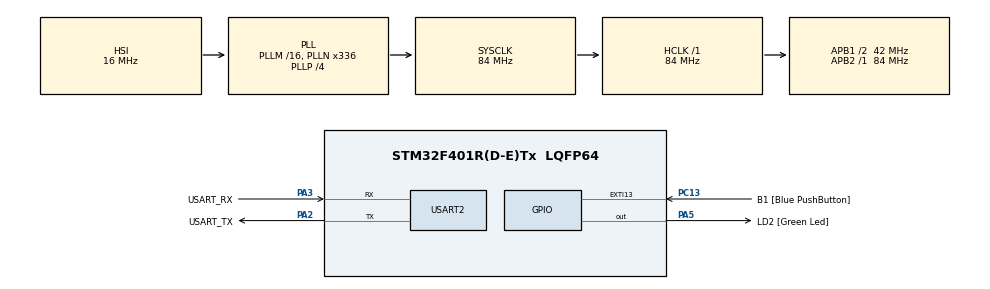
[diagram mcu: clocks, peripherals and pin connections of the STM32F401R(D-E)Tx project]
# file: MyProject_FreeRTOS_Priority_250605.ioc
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FREERTOS.Tasks01=defaultTask,24,128,StartDefaultTask,Default,NULL,Dynamic,NULL,NULL
Mcu.Family=STM32F4
Mcu.Name=STM32F401R(D-E)Tx
Mcu.Package=LQFP64
NVIC.PriorityGroup=NVIC_PRIORITYGROUP_4
PA13.GPIO_Label=TMS
PA13.Mode=Trace_Asynchronous_SW
PA13.Signal=SYS_JTMS-SWDIO
PA14.GPIO_Label=TCK
PA14.Mode=Trace_Asynchronous_SW
PA14.Signal=SYS_JTCK-SWCLK
PA2.GPIO_Label=USART_TX
PA2.GPIO_Mode=GPIO_MODE_AF_PP
PA2.GPIO_PuPd=GPIO_NOPULL
PA2.GPIO_Speed=GPIO_SPEED_FREQ_LOW
PA2.Mode=Asynchronous
PA2.Signal=USART2_TX
PA3.GPIO_Label=USART_RX
PA3.GPIO_Mode=GPIO_MODE_AF_PP
PA3.GPIO_PuPd=GPIO_NOPULL
PA3.GPIO_Speed=GPIO_SPEED_FREQ_LOW
PA3.Mode=Asynchronous
PA3.Signal=USART2_RX
PA5.GPIO_Label=LD2 [Green Led]
PA5.GPIO_Mode=GPIO_MODE_OUTPUT_PP
PA5.GPIO_PuPd=GPIO_NOPULL
PA5.GPIO_Speed=GPIO_SPEED_FREQ_LOW
PA5.Signal=GPIO_Output
PB3.GPIO_Label=SWO
PB3.Mode=Trace_Asynchronous_SW
PB3.Signal=SYS_JTDO-SWO
PC13-ANTI_TAMP.GPIO_Label=B1 [Blue PushButton]
PC13-ANTI_TAMP.GPIO_ModeDefaultEXTI=GPIO_MODE_IT_FALLING
PC13-ANTI_TAMP.GPIO_PuPd=GPIO_NOPULL
PC13-ANTI_TAMP.Signal=GPXTI13
PC14-OSC32_IN.Mode=LSE-External-Oscillator
PC14-OSC32_IN.Signal=RCC_OSC32_IN
PC15-OSC32_OUT.Mode=LSE-External-Oscillator
PC15-OSC32_OUT.Signal=RCC_OSC32_OUT
PH0\ -\ OSC_IN.Mode=HSE-External-Clock-Source
PH0\ -\ OSC_IN.Signal=RCC_OSC_IN
PH1\ -\ OSC_OUT.Mode=HSE-External-Clock-Source
PH1\ -\ OSC_OUT.Signal=RCC_OSC_OUT
ProjectManager.HeapSize=0x200
ProjectManager.StackSize=0x400
ProjectManager.TargetToolchain=STM32CubeIDE
RCC.48MHZClocksFreq_Value=48000000
RCC.AHBFreq_Value=84000000
RCC.APB1CLKDivider=RCC_HCLK_DIV2
RCC.APB1Freq_Value=42000000
RCC.APB1TimFreq_Value=84000000
RCC.APB2Freq_Value=84000000
RCC.APB2TimFreq_Value=84000000
RCC.CortexFreq_Value=84000000
RCC.HCLKFreq_Value=84000000
RCC.HSE_VALUE=8000000
RCC.HSI_VALUE=16000000
RCC.PLLN=336
RCC.PLLP=RCC_PLLP_DIV4
RCC.PLLQ=7
RCC.SYSCLKFreq_VALUE=84000000
RCC.SYSCLKSource=RCC_SYSCLKSOURCE_PLLCLK
RCC.VCOOutputFreq_Value=336000000
USART2.VirtualMode=VM_ASYNC
VP_FREERTOS_VS_CMSIS_V2.Mode=CMSIS_V2
board=NUCLEO-F401RE

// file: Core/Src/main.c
/* USER CODE BEGIN Header */
/**
  ******************************************************************************
  * @file           : main.c
  * @brief          : Main program body
  ******************************************************************************
  * @attention
  *
  * Copyright (c) 2025 STMicroelectronics.
  * All rights reserved.
  *
  * This software is licensed under terms that can be found in the LICENSE file
  * in the root directory of this software component.
  * If no LICENSE file comes with this software, it is provided AS-IS.
  *
  ******************************************************************************
  */
/* USER CODE END Header */
#include "main.h"
#include "cmsis_os.h"

/* USER CODE BEGIN Includes */
#include <stdio.h>  // sprintf 함수를 사용하기 위해 추가
#include <string.h>  // strlen 함수를 사용하기 위해 추가
/* USER CODE END Includes */

UART_HandleTypeDef huart2;

/* Definitions for defaultTask */
osThreadId_t defaultTaskHandle;
const osThreadAttr_t defaultTask_attributes = {
  .name = "defaultTask",
  .stack_size = 128 * 4,
  .priority = (osPriority_t) osPriorityNormal,
};

void SystemClock_Config(void);
static void MX_GPIO_Init(void);
static void MX_USART2_UART_Init(void);
void StartDefaultTask(void *argument);

/* USER CODE BEGIN PFP */
void LedBlinkTask(void *argument);
void SerialPrintTask(void *argument);
/* USER CODE END PFP */

/* USER CODE BEGIN 0 */
// LED 깜빡이는 작업을 수행할 함수
void LedBlinkTask(void *argument)
{
  for(;;) // 무한 루프
  {
    HAL_GPIO_TogglePin(GPIOA, GPIO_PIN_5); // NUCLEO-F401RE의 LD2 LED (녹색) 토글
    osDelay(100);                         // 0.1초 동안 작업 지연 (RTOS 방식)
  }
}

// 시리얼 포트로 메시지를 출력하는 작업을 수행할 함수
void SerialPrintTask(void *argument)
{
  uint32_t counter = 0;
  char msg_buffer[50];

  for(;;) // 무한 루프
  {
    sprintf(msg_buffer, "Task 2! Count: %lu\r\n", counter++); // 메시지 만들기

    // UART(USART2)를 통해 메시지 전송
    // huart2 핸들은 main.c 상단 또는 main.h에 선언되어 있어야 하며, MX_USART2_UART_Init()에서 초기화됩니다.
    // CubeMX 설정 시 USART2를 활성화했다면 자동으로 생성됩니다.
    HAL_UART_Transmit(&huart2, (uint8_t*)msg_buffer, strlen(msg_buffer), 100); // 100ms 타임아웃

    osDelay(1000); // 1초(1000ms) 간격으로 메시지 전송
  }
}

/* USER CODE END 0 */

int main(void)
{

  /* MCU Configuration--------------------------------------------------------*/

  /* Reset of all peripherals, Initializes the Flash interface and the Systick. */
  HAL_Init();

  /* Configure the system clock */
  SystemClock_Config();

  /* Initialize all configured peripherals */
  MX_GPIO_Init();
  MX_USART2_UART_Init();

  /* Init scheduler */
  osKernelInitialize();

  /* Create the thread(s) */
  /* creation of defaultTask */
  defaultTaskHandle = osThreadNew(StartDefaultTask, NULL, &defaultTask_attributes);

  /* USER CODE BEGIN RTOS_THREADS */
  /* add threads, ... */

  // LedBlinkTask를 위한 속성 정의 및 생성
  const osThreadAttr_t ledBlinkTask_attributes = {
    .name = "LedBlink",
    .stack_size = 128 * 4, // 512 바이트
    .priority = (osPriority_t) osPriorityHigh,
  };
  osThreadNew(LedBlinkTask, NULL, &ledBlinkTask_attributes);

  // SerialPrintTask를 위한 속성 정의 및 생성
  const osThreadAttr_t serialPrintTask_attributes = {
    .name = "SerialPrint",
    .stack_size = 128 * 4, // sprintf 등을 사용하므로 충분히 할당 (512 바이트)
    .priority = (osPriority_t) osPriorityLow,
  };
  osThreadNew(SerialPrintTask, NULL, &serialPrintTask_attributes);

  /* USER CODE END RTOS_THREADS */

  /* Start scheduler */
  osKernelStart();

  /* We should never get here as control is now taken by the scheduler */

  /* Infinite loop */
  while (1)
  {

  }
}

void SystemClock_Config(void)
{
  RCC_OscInitTypeDef RCC_OscInitStruct = {0};
  RCC_ClkInitTypeDef RCC_ClkInitStruct = {0};

  /** Configure the main internal regulator output voltage
  */
  __HAL_RCC_PWR_CLK_ENABLE();
  __HAL_PWR_VOLTAGESCALING_CONFIG(PWR_REGULATOR_VOLTAGE_SCALE2);

  /** Initializes the RCC Oscillators according to the specified parameters
  * in the RCC_OscInitTypeDef structure.
  */
  RCC_OscInitStruct.OscillatorType = RCC_OSCILLATORTYPE_HSI;
  RCC_OscInitStruct.HSIState = RCC_HSI_ON;
  RCC_OscInitStruct.HSICalibrationValue = RCC_HSICALIBRATION_DEFAULT;
  RCC_OscInitStruct.PLL.PLLState = RCC_PLL_ON;
  RCC_OscInitStruct.PLL.PLLSource = RCC_PLLSOURCE_HSI;
  RCC_OscInitStruct.PLL.PLLM = 16;
  RCC_OscInitStruct.PLL.PLLN = 336;
  RCC_OscInitStruct.PLL.PLLP = RCC_PLLP_DIV4;
  RCC_OscInitStruct.PLL.PLLQ = 7;
  if (HAL_RCC_OscConfig(&RCC_OscInitStruct) != HAL_OK)
  {
    Error_Handler();
  }

  /** Initializes the CPU, AHB and APB buses clocks
  */
  RCC_ClkInitStruct.ClockType = RCC_CLOCKTYPE_HCLK|RCC_CLOCKTYPE_SYSCLK
                              |RCC_CLOCKTYPE_PCLK1|RCC_CLOCKTYPE_PCLK2;
  RCC_ClkInitStruct.SYSCLKSource = RCC_SYSCLKSOURCE_PLLCLK;
  RCC_ClkInitStruct.AHBCLKDivider = RCC_SYSCLK_DIV1;
  RCC_ClkInitStruct.APB1CLKDivider = RCC_HCLK_DIV2;
  RCC_ClkInitStruct.APB2CLKDivider = RCC_HCLK_DIV1;

  if (HAL_RCC_ClockConfig(&RCC_ClkInitStruct, FLASH_LATENCY_2) != HAL_OK)
  {
    Error_Handler();
  }
}

static void MX_USART2_UART_Init(void)
{

  huart2.Instance = USART2;
  huart2.Init.BaudRate = 115200;
  huart2.Init.WordLength = UART_WORDLENGTH_8B;
  huart2.Init.StopBits = UART_STOPBITS_1;
  huart2.Init.Parity = UART_PARITY_NONE;
  huart2.Init.Mode = UART_MODE_TX_RX;
  huart2.Init.HwFlowCtl = UART_HWCONTROL_NONE;
  huart2.Init.OverSampling = UART_OVERSAMPLING_16;
  if (HAL_UART_Init(&huart2) != HAL_OK)
  {
    Error_Handler();
  }

}

static void MX_GPIO_Init(void)
{
  GPIO_InitTypeDef GPIO_InitStruct = {0};

  /* GPIO Ports Clock Enable */
  __HAL_RCC_GPIOC_CLK_ENABLE();
  __HAL_RCC_GPIOH_CLK_ENABLE();
  __HAL_RCC_GPIOA_CLK_ENABLE();
  __HAL_RCC_GPIOB_CLK_ENABLE();

  /*Configure GPIO pin Output Level */
  HAL_GPIO_WritePin(LD2_GPIO_Port, LD2_Pin, GPIO_PIN_RESET);

  /*Configure GPIO pin : B1_Pin */
  GPIO_InitStruct.Pin = B1_Pin;
  GPIO_InitStruct.Mode = GPIO_MODE_IT_FALLING;
  GPIO_InitStruct.Pull = GPIO_NOPULL;
  HAL_GPIO_Init(B1_GPIO_Port, &GPIO_InitStruct);

  /*Configure GPIO pin : LD2_Pin */
  GPIO_InitStruct.Pin = LD2_Pin;
  GPIO_InitStruct.Mode = GPIO_MODE_OUTPUT_PP;
  GPIO_InitStruct.Pull = GPIO_NOPULL;
  GPIO_InitStruct.Speed = GPIO_SPEED_FREQ_LOW;
  HAL_GPIO_Init(LD2_GPIO_Port, &GPIO_InitStruct);

}

void StartDefaultTask(void *argument)
{
  for(;;)
  {
    osDelay(1);
  }
}

void Error_Handler(void)
{
  __disable_irq();
  while (1)
  {
  }
}
